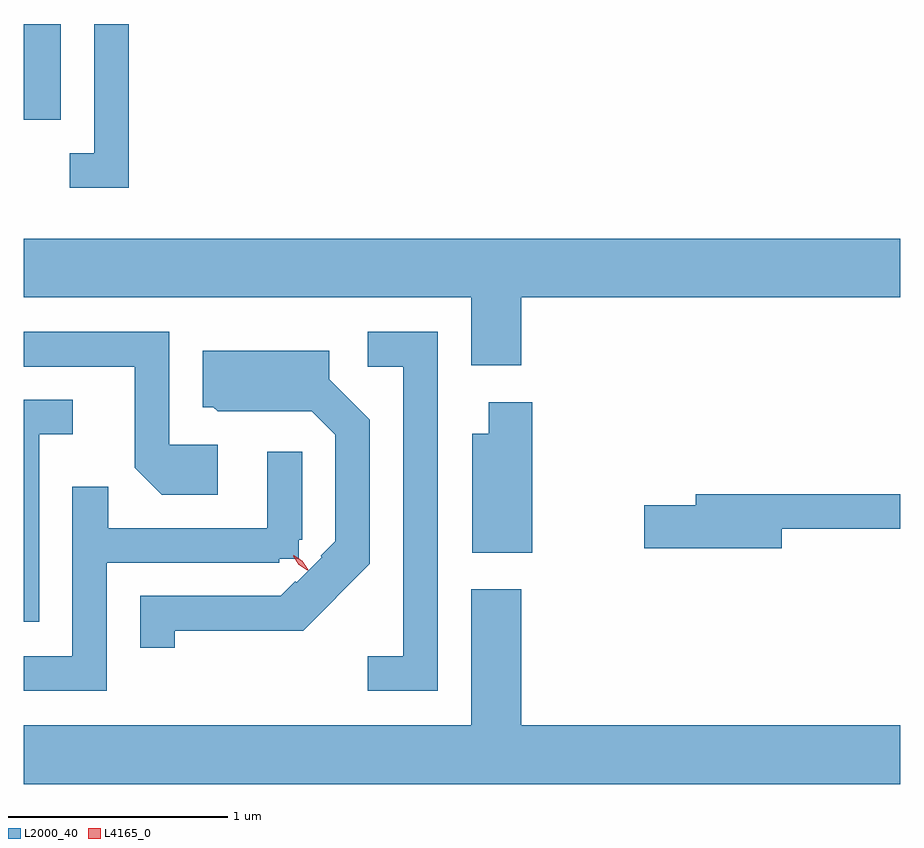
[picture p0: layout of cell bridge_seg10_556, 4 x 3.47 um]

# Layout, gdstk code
import gdstk
lib = gdstk.Library(unit=1e-6, precision=1e-09)
def R(c, l, rs):  # rectangles x0, y0, x1, y1
    for r in rs: c.add(gdstk.rectangle(r[:2], r[2:], *l))
def P(c, l, *ps):  # polygons
    for p in ps: c.add(gdstk.Polygon(p, *l))
L2000_40 = (2000, 40)
L4165_0 = (4165, 0)

bridge_seg10_556 = lib.new_cell('bridge_seg10_556')
R(bridge_seg10_556, L2000_40, [(829.594,2183.546,829.764,2183.984)])
P(bridge_seg10_556, L2000_40, [(830.074,2183.984),(829.916,2183.984),(829.916,2183.394),(829.803,2183.394),(829.803,2183.236),(830.074,2183.236)],
  [(831.864,2182.736),(833.594,2182.736),(833.594,2183.004),(829.594,2183.004),(829.594,2182.736),(831.636,2182.736),(831.636,2182.426),(831.864,2182.426)],
  [(830.479,2182.064),(830.259,2182.064),(830.259,2182.579),(829.594,2182.579),(829.594,2182.421),(830.101,2182.421),(830.101,2181.959),(830.224,2181.836),(830.479,2181.836)],
  [(831.484,2182.579),(831.163,2182.579),(831.163,2182.421),(831.326,2182.421),(831.326,2181.099),(831.163,2181.099),(831.163,2180.941),(831.484,2180.941)],
  [(830.284,2181.216),(830.87,2181.216),(831.174,2181.521),(831.174,2182.177),(830.989,2182.362),(830.989,2182.494),(830.411,2182.494),(830.411,2182.236),(830.459,2182.236),(830.479,2182.216),(830.909,2182.216),(831.016,2182.109),(831.016,2181.624),(830.949,2181.557),(830.955,2181.551),(830.839,2181.436),(830.834,2181.441),(830.767,2181.374),(830.126,2181.374),(830.126,2181.138),(830.284,2181.138)],
  [(829.664,2182.111),(829.818,2182.111),(829.818,2182.269),(829.594,2182.269),(829.594,2181.256),(829.664,2181.256)],
  [(831.914,2182.259),(831.716,2182.259),(831.716,2182.114),(831.641,2182.114),(831.641,2181.571),(831.914,2181.571)],
  [(829.974,2181.526),(830.76,2181.526),(830.76,2181.543),(830.848,2181.543),(830.848,2181.63),(830.864,2181.63),(830.864,2182.033),(830.706,2182.033),(830.706,2181.684),(829.979,2181.684),(829.979,2181.873),(829.816,2181.873),(829.816,2181.099),(829.594,2181.099),(829.594,2180.941),(829.974,2180.941)],
  [(833.054,2181.681),(833.594,2181.681),(833.594,2181.839),(832.661,2181.839),(832.661,2181.789),(832.426,2181.789),(832.426,2181.591),(833.054,2181.591)],
  [(831.636,2181.404),(831.636,2180.784),(829.594,2180.784),(829.594,2180.516),(833.594,2180.516),(833.594,2180.784),(831.864,2180.784),(831.864,2181.404)])
P(bridge_seg10_556, L4165_0, [(830.892,2181.494),(830.852,2181.52),(830.825,2181.56),(830.825,2181.56),(830.826,2181.56),(830.866,2181.534),(830.892,2181.494),(830.892,2181.494)],
  [(830.888,2181.492),(830.85,2181.517),(830.825,2181.556),(830.825,2181.556),(830.825,2181.556),(830.864,2181.532),(830.889,2181.493),(830.889,2181.492)])

lib.write_gds('bridge_seg10_556.gds')
